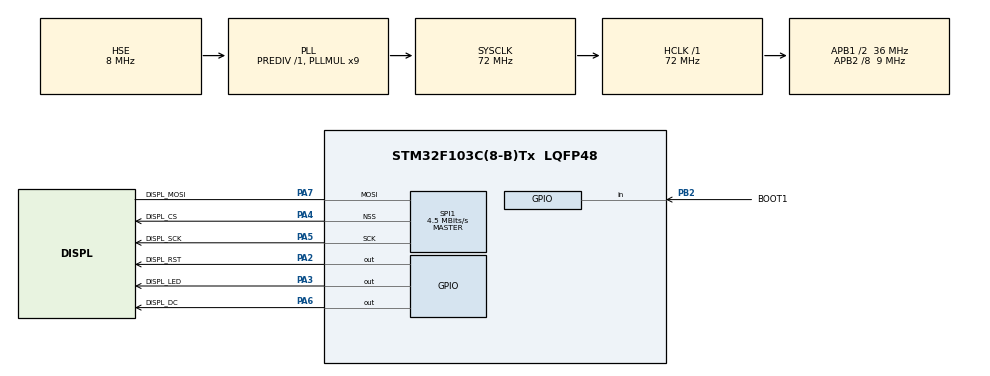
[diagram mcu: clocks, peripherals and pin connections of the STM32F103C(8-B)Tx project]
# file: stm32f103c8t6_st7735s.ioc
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Dma.Request0=SPI1_TX
Dma.SPI1_TX.0.Direction=DMA_MEMORY_TO_PERIPH
Dma.SPI1_TX.0.Instance=DMA1_Channel3
Dma.SPI1_TX.0.MemDataAlignment=DMA_MDATAALIGN_BYTE
Dma.SPI1_TX.0.MemInc=DMA_MINC_ENABLE
Dma.SPI1_TX.0.Mode=DMA_NORMAL
Dma.SPI1_TX.0.PeriphDataAlignment=DMA_PDATAALIGN_BYTE
Dma.SPI1_TX.0.PeriphInc=DMA_PINC_DISABLE
Dma.SPI1_TX.0.Priority=DMA_PRIORITY_LOW
Mcu.Family=STM32F1
Mcu.Name=STM32F103C(8-B)Tx
Mcu.Package=LQFP48
NVIC.DMA1_Channel3_IRQn=true\:0\:0\:false\:false\:true\:false\:true\:true
NVIC.PriorityGroup=NVIC_PRIORITYGROUP_4
NVIC.SPI1_IRQn=true\:0\:0\:false\:false\:true\:true\:true\:true
PA13.Mode=Serial_Wire
PA13.Signal=SYS_JTMS-SWDIO
PA14.Mode=Serial_Wire
PA14.Signal=SYS_JTCK-SWCLK
PA2.GPIO_Label=DISPL_RST
PA2.Signal=GPIO_Output
PA3.GPIO_Label=DISPL_LED
PA3.Signal=GPIO_Output
PA4.GPIO_Label=DISPL_CS
PA4.Mode=NSS_Signal_Hard_Output
PA4.Signal=SPI1_NSS
PA5.GPIO_Label=DISPL_SCK
PA5.Mode=Simplex_Bidirectional_Master
PA5.Signal=SPI1_SCK
PA6.GPIO_Label=DISPL_DC
PA6.Signal=GPIO_Output
PA7.GPIO_Label=DISPL_MOSI
PA7.Mode=Simplex_Bidirectional_Master
PA7.Signal=SPI1_MOSI
PB2.GPIO_Label=BOOT1
PB2.Signal=GPIO_Input
PD0-OSC_IN.Mode=HSE-External-Oscillator
PD0-OSC_IN.Signal=RCC_OSC_IN
PD1-OSC_OUT.Mode=HSE-External-Oscillator
PD1-OSC_OUT.Signal=RCC_OSC_OUT
ProjectManager.HeapSize=0x200
ProjectManager.StackSize=0x400
ProjectManager.TargetToolchain=STM32CubeIDE
RCC.AHBFreq_Value=72000000
RCC.APB1CLKDivider=RCC_HCLK_DIV2
RCC.APB1Freq_Value=36000000
RCC.APB1TimFreq_Value=72000000
RCC.APB2CLKDivider=RCC_HCLK_DIV8
RCC.APB2Freq_Value=9000000
RCC.APB2TimFreq_Value=18000000
RCC.HCLKFreq_Value=72000000
RCC.PLLMUL=RCC_PLL_MUL9
RCC.PLLSourceVirtual=RCC_PLLSOURCE_HSE
RCC.SYSCLKFreq_VALUE=72000000
RCC.SYSCLKSource=RCC_SYSCLKSOURCE_PLLCLK
RCC.USBFreq_Value=72000000
SPI1.BaudRatePrescaler=SPI_BAUDRATEPRESCALER_2
SPI1.CalculateBaudRate=4.5 MBits/s
SPI1.Direction=SPI_DIRECTION_1LINE
SPI1.Mode=SPI_MODE_MASTER
SPI1.VirtualNSS=VM_NSSHARD
SPI1.VirtualType=VM_MASTER
board=custom

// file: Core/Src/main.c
/* USER CODE BEGIN Header */
/**
  ******************************************************************************
  * @file           : main.c
  * @brief          : Main program body
  ******************************************************************************
  * @attention
  *
  * Copyright (c) 2026 STMicroelectronics.
  * All rights reserved.
  *
  * This software is licensed under terms that can be found in the LICENSE file
  * in the root directory of this software component.
  * If no LICENSE file comes with this software, it is provided AS-IS.
  *
  ******************************************************************************
  */
/* USER CODE END Header */
#include "main.h"

SPI_HandleTypeDef hspi1;
DMA_HandleTypeDef hdma_spi1_tx;

/* USER CODE BEGIN PV */
extern int16_t _width;       								///< (oriented) display width
extern int16_t _height;      								///< (oriented) display height

uint64_t shift_ms = 1778284790123ULL; // Fri May 08 2026 23:59:50 GMT+0000
/* USER CODE END PV */

void SystemClock_Config(void);
static void MX_GPIO_Init(void);
static void MX_DMA_Init(void);
static void MX_SPI1_Init(void);

/* USER CODE BEGIN 0 */

int randInt(int a, int b)
{
  // случайное число в диапазоне [a; b]
  int r = a + rand() % (b - a + 1);
  return r;
}

char* time_str()
{
  static char str[9];

  uint32_t sys_ms = HAL_GetTick();
  uint64_t ms = sys_ms + shift_ms;

  uint64_t total_seconds = ms / 1000;

  uint32_t seconds = total_seconds % 60;
  uint32_t minutes = (total_seconds / 60) % 60;
  uint32_t hours   = (total_seconds / 3600) % 24;

  snprintf(str, sizeof(str),
             "%02lu:%02lu:%02lu",
             hours, minutes, seconds);

  return str;
}

static uint32_t last_time_ms = 0;
static char fps_str[10];

void time_tick(void)
{
    uint32_t sys_ms = HAL_GetTick();

    if (last_time_ms != 0)
    {
        uint32_t dt = sys_ms - last_time_ms;

        if (dt > 0)
        {
            float fps = 1000.0f / dt;
            int fps_int = (int) fps;

            snprintf(
                fps_str,
                sizeof(fps_str),
                "fps: %4d",
				fps_int
            );
        }
    }

    last_time_ms = sys_ms;
}

static uint8_t sw_r = 0;
static uint8_t sw_g = 0;
static uint8_t sw_b = 0;
static int sw_dr = 5;
static int sw_dg = 3;
static int sw_db = 2;

uint16_t swingColor()
{
  if (sw_r + sw_dr > 255 || sw_r + sw_dr < 0)
  {
    sw_dr = -sw_dr;
  }
  sw_r += sw_dr;
  if (sw_g + sw_dg > 255 || sw_g + sw_dg < 0)
  {
    sw_dg = -sw_dg;
  }
  sw_g += sw_dg;
  if (sw_b + sw_db > 255 || sw_b + sw_db < 0)
  {
    sw_db = -sw_db;
  }
  sw_b += sw_db;
  uint16_t c = color565(sw_r, sw_g, sw_b);
  return c;
}
/* USER CODE END 0 */

int main(void)
{

  /* MCU Configuration--------------------------------------------------------*/

  /* Reset of all peripherals, Initializes the Flash interface and the Systick. */
  HAL_Init();

  /* Configure the system clock */
  SystemClock_Config();

  /* Initialize all configured peripherals */
  MX_GPIO_Init();
  MX_DMA_Init();
  MX_SPI1_Init();
  /* USER CODE BEGIN 2 */
  Displ_Init(Displ_Orientat_0);		// initialize the display and set the initial display orientation (here is orientaton: 0°) - THIS FUNCTION MUST PRECEED ANY OTHER DISPLAY FUNCTION CALL.
  Displ_CLS(BLACK);			// after initialization (above) and before turning on backlight (below), you can draw the initial display appearance. (here I'm just clearing display with a black background)
  Displ_BackLight('I');  			// initialize backlight and turn it on at init level
  /* USER CODE END 2 */

  /* Infinite loop */
  /* USER CODE BEGIN WHILE */

  /**/
  srand(time(NULL));

  Displ_DrawBackground();

  int w = 106;
  int h = 46;
  int cx = w/2;
  int cy = h/2;
  int r = 5;
  int x0 = cx - w/2;
  int y0 = cy - h/2;
  int x1 = cx + w/2;
  int y1 = cy + h/2;
  int sx = 0;
  int sy = 0;
  int sx_min = 0;
  int sy_min = 0;
  int sx_max = 128 - 1 - w;
  int sy_max = 128 - 1 - h;
  int vx = 0;
  int vy = 0;
  int v_change_prob = 2;
  int v_max = 1;

  int o_x0 = x0;
  int o_y0 = y0;
  int n_x0 = x0;
  int n_y0 = y0;

  while (1)
  {

    // define new position
    int ch_r = randInt(0, 100);
    if (ch_r <= v_change_prob)
    {
      vx = randInt(-v_max, v_max);
      vy = randInt(-v_max, v_max);
    }
    int nsx = sx + vx;
    if (nsx >= sx_max || nsx <= sx_min)
    {
      vx = -vx;
      nsx = sx;
    }
    int nsy = sy + vy;
    if (nsy >= sy_max || nsy <= sy_min)
    {
      vy = -vy;
      nsy = sy;
    }
    sx = nsx;
    sy = nsy;
    n_x0 = x0 + sx;
    n_y0 = y0 + sy;

    // set inter_buffer
    uint8_t o_x1 = o_x0 + w - 1;
    uint8_t o_y1 = o_y0 + h - 1;
    uint8_t summ_x0 = min(n_x0, o_x0);
    uint8_t summ_y0 = min(n_y0, o_y0);
    uint8_t n_x1 = n_x0 + w - 1;
    uint8_t n_y1 = n_y0 + h - 1;
    uint8_t summ_x1 = max(n_x1, o_x1);
    uint8_t summ_y1 = max(n_y1, o_y1);
    ST7735_SetInterBufferWindow(summ_x0, summ_y0, summ_x1, summ_y1);

    // draw in new position
    Displ_DrawBackground();

    Displ_CString(
      n_x0 + r,
      n_y0 + r,
      n_x0 + w - 1 - r,
      n_y0 + 0.70 * h - 1 - r,
      time_str(),
      Font16,
      1,
      BLACK,
      WHITE
    );

      // fps
    time_tick();

    Displ_CString(
      n_x0 + r,
      n_y0 + r + 0.49 * h,
      n_x0 + w - 1 - r,
      n_y0 + h - 1 - r,
      fps_str,
      Font12,
      1,
      BLACK,
      WHITE
    );

    // glitch fix
    Displ_Line(x1 + sx - 1 - r, n_y0 + r, x1 + sx - 1 - r, y1 + sy - 1 - r, WHITE);

    Displ_Border(n_x0, n_y0, w, h, r, swingColor());

    // flush inter_buffer
    ST7735_FlushInterBuffer();

    // remember new position
    o_x0 = n_x0;
    o_y0 = n_y0;

    /**/

    HAL_Delay(0);

    /* USER CODE END WHILE */

  }
}

void SystemClock_Config(void)
{
  RCC_OscInitTypeDef RCC_OscInitStruct = {0};
  RCC_ClkInitTypeDef RCC_ClkInitStruct = {0};

  /** Initializes the RCC Oscillators according to the specified parameters
  * in the RCC_OscInitTypeDef structure.
  */
  RCC_OscInitStruct.OscillatorType = RCC_OSCILLATORTYPE_HSE;
  RCC_OscInitStruct.HSEState = RCC_HSE_ON;
  RCC_OscInitStruct.HSEPredivValue = RCC_HSE_PREDIV_DIV1;
  RCC_OscInitStruct.HSIState = RCC_HSI_ON;
  RCC_OscInitStruct.PLL.PLLState = RCC_PLL_ON;
  RCC_OscInitStruct.PLL.PLLSource = RCC_PLLSOURCE_HSE;
  RCC_OscInitStruct.PLL.PLLMUL = RCC_PLL_MUL9;
  if (HAL_RCC_OscConfig(&RCC_OscInitStruct) != HAL_OK)
  {
    Error_Handler();
  }

  /** Initializes the CPU, AHB and APB buses clocks
  */
  RCC_ClkInitStruct.ClockType = RCC_CLOCKTYPE_HCLK|RCC_CLOCKTYPE_SYSCLK
                              |RCC_CLOCKTYPE_PCLK1|RCC_CLOCKTYPE_PCLK2;
  RCC_ClkInitStruct.SYSCLKSource = RCC_SYSCLKSOURCE_PLLCLK;
  RCC_ClkInitStruct.AHBCLKDivider = RCC_SYSCLK_DIV1;
  RCC_ClkInitStruct.APB1CLKDivider = RCC_HCLK_DIV2;
  RCC_ClkInitStruct.APB2CLKDivider = RCC_HCLK_DIV8;

  if (HAL_RCC_ClockConfig(&RCC_ClkInitStruct, FLASH_LATENCY_2) != HAL_OK)
  {
    Error_Handler();
  }
}

static void MX_SPI1_Init(void)
{

  /* SPI1 parameter configuration*/
  hspi1.Instance = SPI1;
  hspi1.Init.Mode = SPI_MODE_MASTER;
  hspi1.Init.Direction = SPI_DIRECTION_1LINE;
  hspi1.Init.DataSize = SPI_DATASIZE_8BIT;
  hspi1.Init.CLKPolarity = SPI_POLARITY_LOW;
  hspi1.Init.CLKPhase = SPI_PHASE_1EDGE;
  hspi1.Init.NSS = SPI_NSS_HARD_OUTPUT;
  hspi1.Init.BaudRatePrescaler = SPI_BAUDRATEPRESCALER_2;
  hspi1.Init.FirstBit = SPI_FIRSTBIT_MSB;
  hspi1.Init.TIMode = SPI_TIMODE_DISABLE;
  hspi1.Init.CRCCalculation = SPI_CRCCALCULATION_DISABLE;
  hspi1.Init.CRCPolynomial = 10;
  if (HAL_SPI_Init(&hspi1) != HAL_OK)
  {
    Error_Handler();
  }

}

static void MX_DMA_Init(void)
{

  /* DMA controller clock enable */
  __HAL_RCC_DMA1_CLK_ENABLE();

  /* DMA interrupt init */
  /* DMA1_Channel3_IRQn interrupt configuration */
  HAL_NVIC_SetPriority(DMA1_Channel3_IRQn, 0, 0);
  HAL_NVIC_EnableIRQ(DMA1_Channel3_IRQn);

}

static void MX_GPIO_Init(void)
{
  GPIO_InitTypeDef GPIO_InitStruct = {0};

  /* GPIO Ports Clock Enable */
  __HAL_RCC_GPIOD_CLK_ENABLE();
  __HAL_RCC_GPIOA_CLK_ENABLE();
  __HAL_RCC_GPIOB_CLK_ENABLE();

  /*Configure GPIO pin Output Level */
  HAL_GPIO_WritePin(GPIOA, DISPL_RST_Pin|DISPL_LED_Pin|DISPL_DC_Pin, GPIO_PIN_RESET);

  /*Configure GPIO pins : DISPL_RST_Pin DISPL_LED_Pin DISPL_DC_Pin */
  GPIO_InitStruct.Pin = DISPL_RST_Pin|DISPL_LED_Pin|DISPL_DC_Pin;
  GPIO_InitStruct.Mode = GPIO_MODE_OUTPUT_PP;
  GPIO_InitStruct.Pull = GPIO_NOPULL;
  GPIO_InitStruct.Speed = GPIO_SPEED_FREQ_LOW;
  HAL_GPIO_Init(GPIOA, &GPIO_InitStruct);

  /*Configure GPIO pin : BOOT1_Pin */
  GPIO_InitStruct.Pin = BOOT1_Pin;
  GPIO_InitStruct.Mode = GPIO_MODE_INPUT;
  GPIO_InitStruct.Pull = GPIO_NOPULL;
  HAL_GPIO_Init(BOOT1_GPIO_Port, &GPIO_InitStruct);

}

void Error_Handler(void)
{
  __disable_irq();
  while (1)
  {
  }
}
